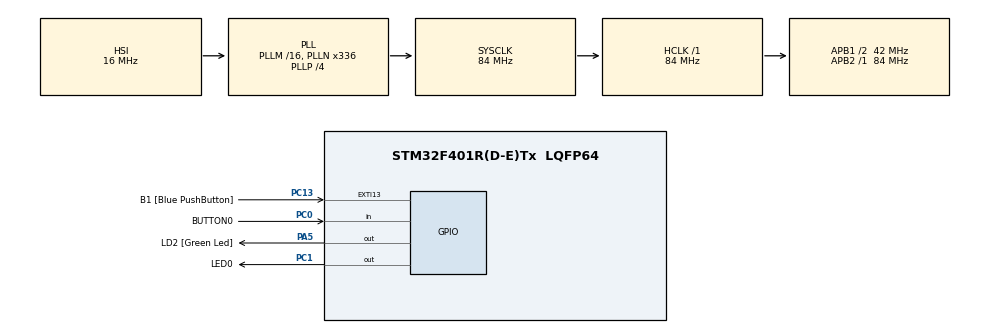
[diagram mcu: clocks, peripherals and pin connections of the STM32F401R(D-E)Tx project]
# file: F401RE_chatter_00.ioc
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Mcu.Family=STM32F4
Mcu.Name=STM32F401R(D-E)Tx
Mcu.Package=LQFP64
NVIC.PriorityGroup=NVIC_PRIORITYGROUP_0
PA13.GPIO_Label=TMS
PA13.Signal=SYS_JTMS-SWDIO
PA14.GPIO_Label=TCK
PA14.Signal=SYS_JTCK-SWCLK
PA2.GPIO_Label=USART_TX
PA2.GPIO_Mode=GPIO_MODE_AF_PP
PA2.GPIO_PuPd=GPIO_NOPULL
PA2.GPIO_Speed=GPIO_SPEED_FREQ_LOW
PA2.Signal=USART2_TX
PA3.GPIO_Label=USART_RX
PA3.GPIO_Mode=GPIO_MODE_AF_PP
PA3.GPIO_PuPd=GPIO_NOPULL
PA3.GPIO_Speed=GPIO_SPEED_FREQ_LOW
PA3.Signal=USART2_RX
PA5.GPIO_Label=LD2 [Green Led]
PA5.GPIO_Mode=GPIO_MODE_OUTPUT_PP
PA5.GPIO_PuPd=GPIO_NOPULL
PA5.GPIO_Speed=GPIO_SPEED_FREQ_LOW
PA5.Signal=GPIO_Output
PB3.GPIO_Label=SWO
PB3.Signal=SYS_JTDO-SWO
PC0.GPIO_Label=BUTTON0
PC0.Signal=GPIO_Input
PC1.GPIO_Label=LED0
PC1.Signal=GPIO_Output
PC13-ANTI_TAMP.GPIO_Label=B1 [Blue PushButton]
PC13-ANTI_TAMP.GPIO_ModeDefaultEXTI=GPIO_MODE_EVT_RISING
PC13-ANTI_TAMP.GPIO_PuPd=GPIO_NOPULL
PC13-ANTI_TAMP.Signal=GPXTI13
PC14-OSC32_IN.Signal=RCC_OSC32_IN
PC15-OSC32_OUT.Signal=RCC_OSC32_OUT
PH0\ -\ OSC_IN.Signal=RCC_OSC_IN
PH1\ -\ OSC_OUT.Signal=RCC_OSC_OUT
ProjectManager.HeapSize=0x200
ProjectManager.StackSize=0x400
ProjectManager.TargetToolchain=MDK-ARM V5
RCC.AHBFreq_Value=84000000
RCC.APB1CLKDivider=RCC_HCLK_DIV2
RCC.APB1Freq_Value=42000000
RCC.APB1TimFreq_Value=84000000
RCC.APB2Freq_Value=84000000
RCC.APB2TimFreq_Value=84000000
RCC.CortexFreq_Value=84000000
RCC.HCLKFreq_Value=84000000
RCC.HSE_VALUE=8000000
RCC.HSI_VALUE=16000000
RCC.LSE_VALUE=32768
RCC.PLLN=336
RCC.PLLP=RCC_PLLP_DIV4
RCC.PLLQ=7
RCC.SYSCLKFreq_VALUE=84000000
RCC.SYSCLKSource=RCC_SYSCLKSOURCE_PLLCLK
RCC.VCOOutputFreq_Value=336000000
board=NUCLEO-F401RE

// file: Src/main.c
/**
  ******************************************************************************
  * File Name          : main.c
  * Description        : Main program body
  ******************************************************************************
  *
  * COPYRIGHT(c) 2016 STMicroelectronics
  *
  * Redistribution and use in source and binary forms, with or without modification,
  * are permitted provided that the following conditions are met:
  *   1. Redistributions of source code must retain the above copyright notice,
  *      this list of conditions and the following disclaimer.
  *   2. Redistributions in binary form must reproduce the above copyright notice,
  *      this list of conditions and the following disclaimer in the documentation
  *      and/or other materials provided with the distribution.
  *   3. Neither the name of STMicroelectronics nor the names of its contributors
  *      may be used to endorse or promote products derived from this software
  *      without specific prior written permission.
  *
  * THIS SOFTWARE IS PROVIDED BY THE COPYRIGHT HOLDERS AND CONTRIBUTORS "AS IS"
  * AND ANY EXPRESS OR IMPLIED WARRANTIES, INCLUDING, BUT NOT LIMITED TO, THE
  * IMPLIED WARRANTIES OF MERCHANTABILITY AND FITNESS FOR A PARTICULAR PURPOSE ARE
  * DISCLAIMED. IN NO EVENT SHALL THE COPYRIGHT HOLDER OR CONTRIBUTORS BE LIABLE
  * FOR ANY DIRECT, INDIRECT, INCIDENTAL, SPECIAL, EXEMPLARY, OR CONSEQUENTIAL
  * DAMAGES (INCLUDING, BUT NOT LIMITED TO, PROCUREMENT OF SUBSTITUTE GOODS OR
  * SERVICES; LOSS OF USE, DATA, OR PROFITS; OR BUSINESS INTERRUPTION) HOWEVER
  * CAUSED AND ON ANY THEORY OF LIABILITY, WHETHER IN CONTRACT, STRICT LIABILITY,
  * OR TORT (INCLUDING NEGLIGENCE OR OTHERWISE) ARISING IN ANY WAY OUT OF THE USE
  * OF THIS SOFTWARE, EVEN IF ADVISED OF THE POSSIBILITY OF SUCH DAMAGE.
  *
  ******************************************************************************
  */
#include "stm32f4xx_hal.h"

/* USER CODE BEGIN PV */
/* Private variables ---------------------------------------------------------*/
#define	CHATTERING_OFF

#define	LED_PORT		GPIOC
#define	LED_PIN			GPIO_PIN_1
#define	LED_ON			GPIO_PIN_SET
#define	LED_OFF		GPIO_PIN_RESET
#define	SW_PORT		GPIOC
#define	SW_PIN			GPIO_PIN_0
#define	SW_OFF			GPIO_PIN_SET
#define	SW_ON			GPIO_PIN_RESET

#ifdef CHATTERING_OFF
#define	wait_delay()		HAL_Delay(30)
#else
#define	wai_delay()
#endif
/* USER CODE END PV */

void SystemClock_Config(void);
void Error_Handler(void);
static void MX_GPIO_Init(void);

/* USER CODE BEGIN PFP */
/* Private function prototypes -----------------------------------------------*/

/* USER CODE END PFP */

/* USER CODE BEGIN 0 */
void GetSwitch(void)
{
	while(HAL_GPIO_ReadPin(SW_PORT, SW_PIN) != SW_ON) ;		// スイッチが押されるのを待つ
	wait_delay();
	while(HAL_GPIO_ReadPin(SW_PORT, SW_PIN) != SW_OFF) ;
	wait_delay();
}
/* USER CODE END 0 */

int main(void)
{

  /* MCU Configuration----------------------------------------------------------*/

  /* Reset of all peripherals, Initializes the Flash interface and the Systick. */
  HAL_Init();

  /* Configure the system clock */
  SystemClock_Config();

  /* Initialize all configured peripherals */
  MX_GPIO_Init();

  /* Infinite loop */
  /* USER CODE BEGIN WHILE */
  while (1)
  {
	  GetSwitch();
	  HAL_GPIO_WritePin(LED_PORT, LED_PIN, LED_ON);
	  GetSwitch();
	  HAL_GPIO_WritePin(LED_PORT, LED_PIN, LED_OFF);
  /* USER CODE END WHILE */

  }

}

/** System Clock Configuration
*/
void SystemClock_Config(void)
{

  RCC_OscInitTypeDef RCC_OscInitStruct;
  RCC_ClkInitTypeDef RCC_ClkInitStruct;

  __HAL_RCC_PWR_CLK_ENABLE();

  __HAL_PWR_VOLTAGESCALING_CONFIG(PWR_REGULATOR_VOLTAGE_SCALE2);

  RCC_OscInitStruct.OscillatorType = RCC_OSCILLATORTYPE_HSI;
  RCC_OscInitStruct.HSIState = RCC_HSI_ON;
  RCC_OscInitStruct.HSICalibrationValue = 16;
  RCC_OscInitStruct.PLL.PLLState = RCC_PLL_ON;
  RCC_OscInitStruct.PLL.PLLSource = RCC_PLLSOURCE_HSI;
  RCC_OscInitStruct.PLL.PLLM = 16;
  RCC_OscInitStruct.PLL.PLLN = 336;
  RCC_OscInitStruct.PLL.PLLP = RCC_PLLP_DIV4;
  RCC_OscInitStruct.PLL.PLLQ = 7;
  if (HAL_RCC_OscConfig(&RCC_OscInitStruct) != HAL_OK)
  {
    Error_Handler();
  }

  RCC_ClkInitStruct.ClockType = RCC_CLOCKTYPE_HCLK|RCC_CLOCKTYPE_SYSCLK
                              |RCC_CLOCKTYPE_PCLK1|RCC_CLOCKTYPE_PCLK2;
  RCC_ClkInitStruct.SYSCLKSource = RCC_SYSCLKSOURCE_PLLCLK;
  RCC_ClkInitStruct.AHBCLKDivider = RCC_SYSCLK_DIV1;
  RCC_ClkInitStruct.APB1CLKDivider = RCC_HCLK_DIV2;
  RCC_ClkInitStruct.APB2CLKDivider = RCC_HCLK_DIV1;
  if (HAL_RCC_ClockConfig(&RCC_ClkInitStruct, FLASH_LATENCY_2) != HAL_OK)
  {
    Error_Handler();
  }

  HAL_SYSTICK_Config(HAL_RCC_GetHCLKFreq()/1000);

  HAL_SYSTICK_CLKSourceConfig(SYSTICK_CLKSOURCE_HCLK);

  /* SysTick_IRQn interrupt configuration */
  HAL_NVIC_SetPriority(SysTick_IRQn, 0, 0);
}

/** Configure pins as
        * Analog
        * Input
        * Output
        * EVENT_OUT
        * EXTI
     PA2   ------> USART2_TX
     PA3   ------> USART2_RX
*/
static void MX_GPIO_Init(void)
{

  GPIO_InitTypeDef GPIO_InitStruct;

  /* GPIO Ports Clock Enable */
  __HAL_RCC_GPIOC_CLK_ENABLE();
  __HAL_RCC_GPIOH_CLK_ENABLE();
  __HAL_RCC_GPIOA_CLK_ENABLE();
  __HAL_RCC_GPIOB_CLK_ENABLE();

  /*Configure GPIO pin : B1_Pin */
  GPIO_InitStruct.Pin = B1_Pin;
  GPIO_InitStruct.Mode = GPIO_MODE_EVT_RISING;
  GPIO_InitStruct.Pull = GPIO_NOPULL;
  HAL_GPIO_Init(B1_GPIO_Port, &GPIO_InitStruct);

  /*Configure GPIO pin : BUTTON0_Pin */
  GPIO_InitStruct.Pin = BUTTON0_Pin;
  GPIO_InitStruct.Mode = GPIO_MODE_INPUT;
  GPIO_InitStruct.Pull = GPIO_NOPULL;
  HAL_GPIO_Init(BUTTON0_GPIO_Port, &GPIO_InitStruct);

  /*Configure GPIO pin : LED0_Pin */
  GPIO_InitStruct.Pin = LED0_Pin;
  GPIO_InitStruct.Mode = GPIO_MODE_OUTPUT_PP;
  GPIO_InitStruct.Pull = GPIO_NOPULL;
  GPIO_InitStruct.Speed = GPIO_SPEED_FREQ_LOW;
  HAL_GPIO_Init(LED0_GPIO_Port, &GPIO_InitStruct);

  /*Configure GPIO pins : USART_TX_Pin USART_RX_Pin */
  GPIO_InitStruct.Pin = USART_TX_Pin|USART_RX_Pin;
  GPIO_InitStruct.Mode = GPIO_MODE_AF_PP;
  GPIO_InitStruct.Pull = GPIO_NOPULL;
  GPIO_InitStruct.Speed = GPIO_SPEED_FREQ_LOW;
  GPIO_InitStruct.Alternate = GPIO_AF7_USART2;
  HAL_GPIO_Init(GPIOA, &GPIO_InitStruct);

  /*Configure GPIO pin : LD2_Pin */
  GPIO_InitStruct.Pin = LD2_Pin;
  GPIO_InitStruct.Mode = GPIO_MODE_OUTPUT_PP;
  GPIO_InitStruct.Pull = GPIO_NOPULL;
  GPIO_InitStruct.Speed = GPIO_SPEED_FREQ_LOW;
  HAL_GPIO_Init(LD2_GPIO_Port, &GPIO_InitStruct);

  /*Configure GPIO pin Output Level */
  HAL_GPIO_WritePin(LED0_GPIO_Port, LED0_Pin, GPIO_PIN_RESET);

  /*Configure GPIO pin Output Level */
  HAL_GPIO_WritePin(LD2_GPIO_Port, LD2_Pin, GPIO_PIN_RESET);

}

void Error_Handler(void)
{
  while(1)
  {
  }
}

/************************ (C) COPYRIGHT STMicroelectronics *****END OF FILE****/
